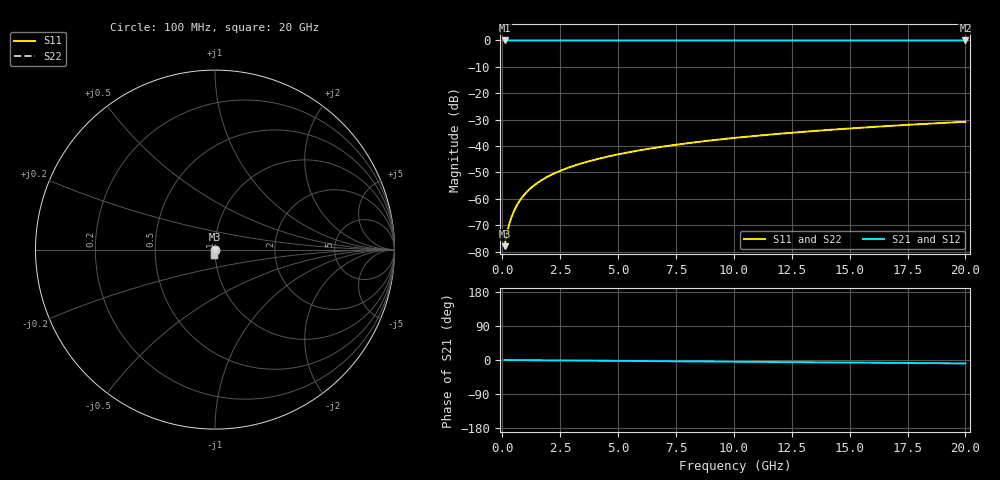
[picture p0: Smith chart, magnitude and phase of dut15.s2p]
! Touchstone file exported from HFSS 2026.1.0
!  File:  C:/ffzhzh/LocalFiles/Ansys_Project_Files/temp_train_TSV_15_1782958049_15332.aedt
!  Generated:  10:08:58 AM Jul  2, 2026
!  Design:  TSV
!  Project:  temp_train_TSV_15_1782958049_15332
! Variables:
!  h_bsmrdl = 2um
!  h_ox = 20um
!  h_rdl = 5um
!  h_sub = 90.08um
!  h_tmrdl = 5um
!  h_tsv = 90.08um
!  h_via = 3um
!  l_bsmrdl = 300um
!  l_sub = 429.44um
!  l_tmrdl = 200um
!  m_sub = 200um
!  pitch = 49.39um
!  r_tsv = 14.72um
!  s_tmrdl = 10um
!  w_bsmrdl = 18um
!  w_sub = 500um
!  w_tmrdl = 12um
!  x_tsv_center1 = 206um
!  x_tsv_center2 = 524um
!  x_tsv_center3 = 736um
!  x_tsv_center4 = 1054um
!  x_tsv_center5 = 1266um
!  x_tsv_center6 = 1584um
# GHz S MA R 50.000000
! Terminal data exported
! Port[1] = TSV1_1_T1
! Port[2] = TSV1_1_T2
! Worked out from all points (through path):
!   200 points, 100 MHz to 20 GHz, reference 50 ohm
!   highest |S21| = 0.00 dB at 100 MHz (marker M1); lowest = 0.0 dB at 20 GHz (marker M2)
!   group delay of S21, straight-line fit = 1.25 ps
!   lowest |S11| = -77.9 dB at 100 MHz (marker M3), VSWR 1.00, Z = 50 - j0.00974 ohm
!   |S11| at or under -10 dB: start of sweep to end of sweep
!   |S22| runs from -77.9 to -30.8 dB; largest |S21 - S12| = 4.5e-15
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0.1  0.0001268 -50.2  0.9999 -0.0  0.9999 -0.0  0.0001268 -50.2
! Gamma 0 0 0 0
! Port Impedance 50 0 50 0
0.2  0.0002219 -64.0  0.9999 -0.1  0.9999 -0.1  0.0002219 -64.0
0.3  0.0003317 -68.8  0.9999 -0.1  0.9999 -0.1  0.0003317 -68.8
0.4  0.0004516 -71.2  0.9999 -0.2  0.9999 -0.2  0.0004516 -71.2
0.5  0.0005792 -72.8  0.9998 -0.2  0.9998 -0.2  0.0005792 -72.8
0.7  0.0008488 -75.2  0.9998 -0.3  0.9998 -0.3  0.0008488 -75.2
0.8  0.0009877 -76.2  0.9998 -0.4  0.9998 -0.4  0.0009877 -76.2
1  0.001269 -78.0  0.9997 -0.5  0.9997 -0.5  0.001269 -78.0
1.2  0.001552 -79.4  0.9997 -0.6  0.9997 -0.6  0.001552 -79.4
1.4  0.001835 -80.6  0.9997 -0.6  0.9997 -0.6  0.001835 -80.6
1.7  0.00226 -82.0  0.9996 -0.8  0.9996 -0.8  0.00226 -82.0
2  0.002683 -83.0  0.9996 -0.9  0.9996 -0.9  0.002683 -83.0
2.7  0.003673 -84.8  0.9996 -1.2  0.9996 -1.2  0.003673 -84.8
3.5  0.004807 -86.0  0.9995 -1.6  0.9995 -1.6  0.004807 -86.0
4.2  0.005806 -86.9  0.9995 -1.9  0.9995 -1.9  0.005806 -86.9
5  0.006954 -87.7  0.9994 -2.3  0.9994 -2.3  0.006954 -87.7
6.8  0.009555 -89.1  0.9993 -3.1  0.9993 -3.1  0.009555 -89.1
8.3  0.01173 -90.2  0.9992 -3.7  0.9992 -3.7  0.01173 -90.2
10.1  0.01436 -91.4  0.9991 -4.6  0.9991 -4.6  0.01436 -91.4
13.4  0.01918 -93.3  0.9989 -6.0  0.9989 -6.0  0.01918 -93.3
16.7  0.024 -95.1  0.9987 -7.5  0.9987 -7.5  0.024 -95.1
20  0.02884 -96.7  0.9985 -9.0  0.9985 -9.0  0.02884 -96.7
